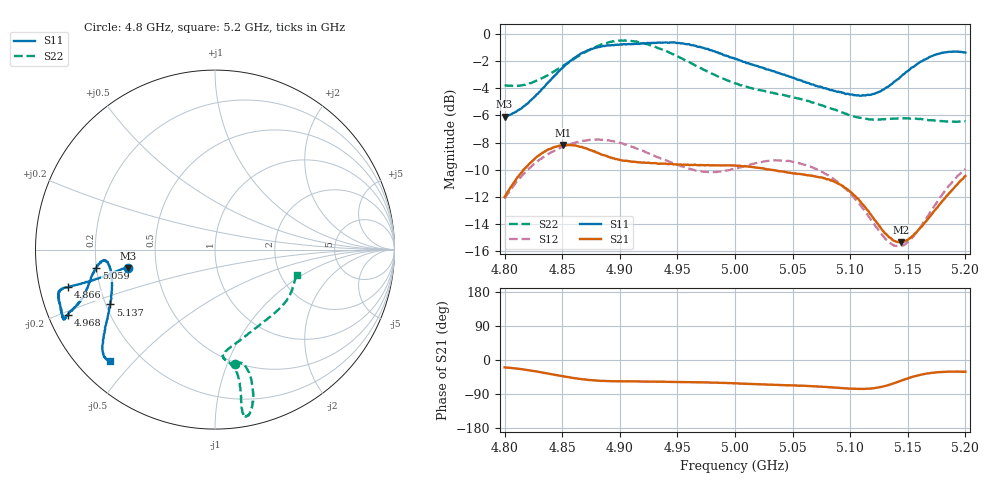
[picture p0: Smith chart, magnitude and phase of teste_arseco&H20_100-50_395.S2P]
! Network Analyzer HP8722D
! Hewlett-Packard
! Data name: Linha & Wilkinson
! Saver's name: Rodrigo Anjos
! Comments: Teste da utilização de aquisição
! continua pelo VNA HP8722D
! Time and date: 6/5/2025 15:51
!  Frequency  S11  S21  S12  S22
# HZ  S  MA R 50
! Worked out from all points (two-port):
!   401 points, 4.8 GHz to 5.2 GHz, reference 50 ohm
!   highest |S21| = -8.17 dB at 4.851 GHz (marker M1); lowest = -15.3 dB at 5.144 GHz (marker M2)
!   |S21| within 3 dB of the highest: 4.806 GHz to 5.093 GHz (286.8 MHz wide, 5.8 % of centre); 5.19196 GHz to end of sweep
!   lowest |S11| = -6.1 dB at 4.8 GHz (marker M3), VSWR 2.97, Z = 17 - j4.6 ohm
!   |S11| at or under -10 dB: nowhere
!   |S22| runs from -6.5 to -0.5 dB; largest |S21 - S12| = 0.62
!   S11 on the Smith chart (normalised r, x): 4.8 GHz: 0.34, -0.09; 4.866 GHz: 0.09, -0.12; 4.968 GHz: 0.06, -0.21; 5.059 GHz: 0.20, -0.07; 5.137 GHz: 0.22, -0.23; 5.2 GHz: 0.09, -0.43
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4.8e9  0.4959 -168.1  0.2512 -19.5  0.2477 -140.7  0.6487 -80.3
4.823e9  0.5697 -167.4  0.3378 -28.0  0.3245 -143.6  0.6591 -75.9
4.851e9  0.7556 -165.7  0.3905 -43.2  0.3848 -149.1  0.7641 -74.5
4.866e9  0.845 -165.7  0.384 -50.2  0.4027 -151.6  0.836 -75.2
4.867e9  0.8491 -165.7  0.384 -50.7  0.4031 -151.8  0.8417 -75.3
4.883e9  0.8952 -164.9  0.3615 -54.9  0.4084 -154.5  0.9094 -77.0
4.9e9  0.9131 -162.5  0.3439 -56.2  0.397 -156.3  0.9431 -79.1
4.934e9  0.9283 -156.2  0.333 -57.4  0.3509 -155.6  0.883 -80.4
4.968e9  0.8945 -156.1  0.3291 -58.9  0.3137 -147.5  0.7554 -79.5
5e9  0.8094 -158.9  0.328 -61.7  0.3196 -137.1  0.6577 -81.2
5.032e9  0.7316 -164.4  0.3159 -65.3  0.342 -134.1  0.6081 -85.3
5.059e9  0.6682 -171.2  0.3043 -68.1  0.3315 -135.9  0.5728 -84.3
5.067e9  0.6513 -172.9  0.3011 -68.9  0.3232 -136.6  0.5593 -82.6
5.084e9  0.6216 -174.6  0.2892 -72.3  0.2957 -138.2  0.5297 -76.2
5.102e9  0.5985 -171.6  0.2582 -75.8  0.2538 -138.6  0.4988 -66.0
5.116e9  0.5959 -165.5  0.2225 -75.8  0.213 -135.5  0.4849 -55.7
5.134e9  0.6443 -154.2  0.1783 -65.4  0.171 -120.8  0.4868 -43.2
5.137e9  0.6584 -152.4  0.1743 -62.4  0.1678 -117.0  0.488 -41.5
5.144e9  0.696 -148.8  0.1712 -54.8  0.1657 -107.7  0.4894 -37.5
5.156e9  0.7624 -143.7  0.1842 -42.7  0.1827 -93.0  0.4881 -31.5
5.174e9  0.8386 -138.4  0.2262 -32.7  0.2357 -80.2  0.4794 -23.9
5.2e9  0.8531 -133.5  0.3 -31.1  0.3184 -76.6  0.4771 -17.6
